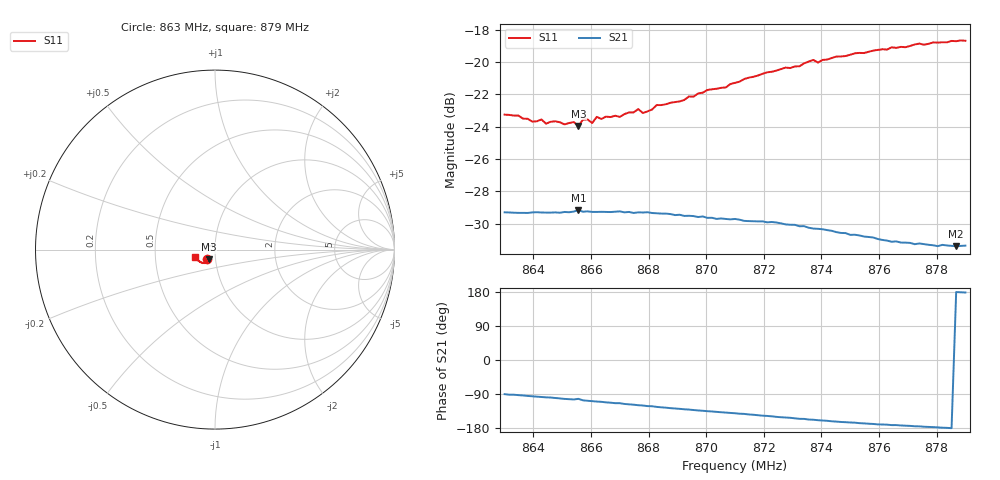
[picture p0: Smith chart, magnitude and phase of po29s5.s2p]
# HZ S RI R 50
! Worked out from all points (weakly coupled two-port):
!   101 points, 863 MHz to 879 MHz, reference 50 ohm
!   highest |S21| = -29.17 dB at 865.56 MHz (marker M1); lowest = -31.4 dB at 878.68 MHz (marker M2)
!   lowest |S11| = -23.9 dB at 865.56 MHz (marker M3), VSWR 1.14, Z = 46.5 - j5.01 ohm
!   |S11| at or under -10 dB: start of sweep to end of sweep
!   S12 and S22 are empty: the file has one direction only
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8.63e8  -0.047 -0.0502  -7.5e-05 -0.0343  0 0  0 0
8.6348e8  -0.0434 -0.0527  -0.0016 -0.0341  0 0  0 0
8.6396e8  -0.0406 -0.0514  -0.00342 -0.0341  0 0  0 0
8.6428e8  -0.0396 -0.0533  -0.00455 -0.0339  0 0  0 0
8.6444e8  -0.0381 -0.052  -0.00508 -0.0338  0 0  0 0
8.654e8  -0.0353 -0.0548  -0.00842 -0.0334  0 0  0 0
8.6556e8  -0.0338 -0.0537  -0.00754 -0.034  0 0  0 0
8.6572e8  -0.0351 -0.0563  -0.00968 -0.033  0 0  0 0
8.6604e8  -0.0342 -0.055  -0.011 -0.0326  0 0  0 0
8.662e8  -0.0366 -0.057  -0.0115 -0.0324  0 0  0 0
8.67e8  -0.0328 -0.0592  -0.014 -0.0315  0 0  0 0
8.6764e8  -0.0363 -0.0617  -0.0168 -0.0299  0 0  0 0
8.678e8  -0.0346 -0.0604  -0.0171 -0.0296  0 0  0 0
8.6844e8  -0.0353 -0.0646  -0.0194 -0.0279  0 0  0 0
8.71e8  -0.0466 -0.0726  -0.0252 -0.0208  0 0  0 0
8.7276e8  -0.0596 -0.0756  -0.0277 -0.0149  0 0  0 0
8.7324e8  -0.063 -0.0739  -0.0282 -0.013  0 0  0 0
8.7372e8  -0.068 -0.0755  -0.0282 -0.0116  0 0  0 0
8.7388e8  -0.0677 -0.0732  -0.0284 -0.011  0 0  0 0
8.7644e8  -0.0921 -0.0623  -0.0275 -0.00396  0 0  0 0
8.7868e8  -0.1081 -0.0427  -0.0269 0.000306  0 0  0 0
8.79e8  -0.1097 -0.0394  -0.027 0.000868  0 0  0 0
